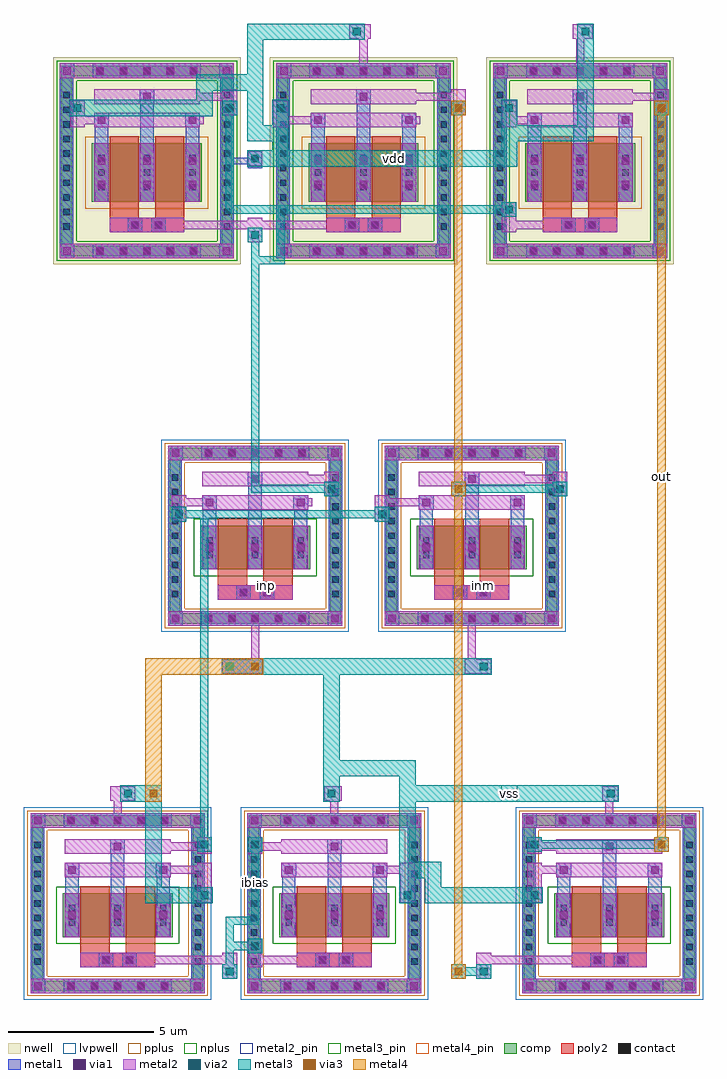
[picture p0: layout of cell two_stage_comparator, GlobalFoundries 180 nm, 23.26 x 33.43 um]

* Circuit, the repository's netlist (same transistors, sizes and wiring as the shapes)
.lib "/home/huda/.volare/gf180mcuD/libs.tech/ngspice/sm141064.ngspice" typical
.subckt two_stage_comparator vdd vss inp inm out ibias
XM8   ibias  ibias vss vss nfet_03v3  L=1u W=3u nf=2 m=1
XM3   int_p  int_p vdd vdd  pfet_03v3  L=1u W=4u nf=2 m=1
XM4   int_n  int_p vdd vdd  pfet_03v3  L=1u W=4u nf=2 m=1
XM1   int_p    inp int_src vss nfet_03v3  L=1u W=3u nf=2 m=1
XM2   int_n    inm int_src vss nfet_03v3  L=1u W=3u nf=2 m=1
XM5   int_src ibias vss vss  nfet_03v3  L=1u W=3u nf=2 m=1
XM7   out    int_p vdd vdd  pfet_03v3  L=1u W=4u nf=2 m=1
XM6   out    int_n vss vss  nfet_03v3  L=1u W=3u nf=2 m=1
.ends

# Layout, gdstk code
import gdstk
lib = gdstk.Library(unit=1e-6, precision=5e-09)
def R(c, l, rs):  # rectangles x0, y0, x1, y1
    for r in rs: c.add(gdstk.rectangle(r[:2], r[2:], *l))
def A(c, l, x, y, w, h, nx, ny, dx, dy):  # array of equal rectangles
    R(c, l, [(x+i*dx, y+j*dy, x+i*dx+w, y+j*dy+h) for i in range(nx) for j in range(ny)])
def P(c, l, *ps):  # polygons
    for p in ps: c.add(gdstk.Polygon(p, *l))
nwell = (21, 0)
comp = (22, 0)
poly2 = (30, 0)
pplus = (31, 0)
nplus = (32, 0)
contact = (33, 0)
metal1 = (34, 0)
via1 = (35, 0)
metal2 = (36, 0)
metal2_pin = (36, 10)
via2 = (38, 0)
via3 = (40, 0)
metal3 = (42, 0)
metal3_pin = (42, 10)
metal4 = (46, 0)
metal4_pin = (46, 10)
lvpwell = (204, 0)

two_stage_comparator = lib.new_cell('two_stage_comparator')
A(two_stage_comparator, nwell, -10.63, 25.18, 6.42, 7.09, 3, 1, 7.42, 0)
A(two_stage_comparator, nwell, -10.47, 25.34, 6.1, 6.77, 3, 1, 7.42, 0)
A(two_stage_comparator, comp, -10.2, 0.28, 0.36, 0.36, 5, 2, 0.8, 5.67)
A(two_stage_comparator, comp, -2.78, 0.28, 0.36, 0.36, 5, 2, 0.8, 5.67)
A(two_stage_comparator, comp, 6.64, 0.28, 0.36, 0.36, 5, 2, 0.8, 5.67)
A(two_stage_comparator, comp, -11.35, 1.115, 0.36, 0.36, 1, 9, 0, 0.5)
A(two_stage_comparator, comp, -5.85, 1.115, 0.36, 0.36, 1, 9, 0, 0.5)
A(two_stage_comparator, comp, -3.93, 1.115, 0.36, 0.36, 1, 9, 0, 0.5)
A(two_stage_comparator, comp, 1.57, 1.115, 0.36, 0.36, 1, 9, 0, 0.5)
A(two_stage_comparator, comp, 5.49, 1.115, 0.36, 0.36, 1, 9, 0, 0.5)
A(two_stage_comparator, comp, 10.99, 1.115, 0.36, 0.36, 1, 9, 0, 0.5)
A(two_stage_comparator, comp, -5.49, 12.87, 0.36, 0.36, 5, 2, 0.8, 5.67)
A(two_stage_comparator, comp, 1.93, 12.87, 0.36, 0.36, 5, 2, 0.8, 5.67)
A(two_stage_comparator, comp, -6.64, 13.705, 0.36, 0.36, 1, 9, 0, 0.5)
A(two_stage_comparator, comp, -1.14, 13.705, 0.36, 0.36, 1, 9, 0, 0.5)
A(two_stage_comparator, comp, 0.78, 13.705, 0.36, 0.36, 1, 9, 0, 0.5)
A(two_stage_comparator, comp, 6.28, 13.705, 0.36, 0.36, 1, 9, 0, 0.5)
A(two_stage_comparator, comp, -9.2, 25.46, 0.36, 0.36, 5, 2, 0.8, 6.17)
A(two_stage_comparator, comp, -9.2, 25.46, 3.56, 0.36, 3, 2, 7.42, 6.17)
A(two_stage_comparator, comp, -1.78, 25.46, 0.36, 0.36, 5, 2, 0.8, 6.17)
A(two_stage_comparator, comp, 5.64, 25.46, 0.36, 0.36, 5, 2, 0.8, 6.17)
A(two_stage_comparator, comp, -10.35, 26.295, 0.36, 0.36, 1, 10, 0, 0.5)
A(two_stage_comparator, comp, -4.85, 26.295, 0.36, 0.36, 1, 10, 0, 0.5)
A(two_stage_comparator, comp, -2.93, 26.295, 0.36, 0.36, 1, 10, 0, 0.5)
A(two_stage_comparator, comp, 2.57, 26.295, 0.36, 0.36, 1, 10, 0, 0.5)
A(two_stage_comparator, comp, 4.49, 26.295, 0.36, 0.36, 1, 10, 0, 0.5)
A(two_stage_comparator, comp, 9.99, 26.295, 0.36, 0.36, 1, 10, 0, 0.5)
A(two_stage_comparator, comp, -9.3, 27.32, 3.76, 2, 3, 1, 7.42, 0)
R(two_stage_comparator, comp, [(-10.2,0.28,-6.64,0.64), (-2.78,0.28,0.78,0.64), (6.64,0.28,10.2,0.64), (-11.35,1.115,-10.99,5.475), (-5.85,1.115,-5.49,5.475), (-3.93,1.115,-3.57,5.475), (1.57,1.115,1.93,5.475), (5.49,1.115,5.85,5.475), (10.99,1.115,11.35,5.475), (-10.3,2.14,-6.54,3.64), (-2.88,2.14,0.88,3.64), (6.54,2.14,10.3,3.64), (-10.2,5.95,-6.64,6.31), (-2.78,5.95,0.78,6.31), (6.64,5.95,10.2,6.31), (-5.49,12.87,-1.93,13.23), (1.93,12.87,5.49,13.23), (-6.64,13.705,-6.28,18.065), (-1.14,13.705,-0.78,18.065), (0.78,13.705,1.14,18.065), (6.28,13.705,6.64,18.065), (-5.59,14.73,-1.83,16.23), (1.83,14.73,5.59,16.23), (-5.49,18.54,-1.93,18.9), (1.93,18.54,5.49,18.9), (-10.35,26.295,-9.99,31.155), (-4.85,26.295,-4.49,31.155), (-2.93,26.295,-2.57,31.155), (2.57,26.295,2.93,31.155), (4.49,26.295,4.85,31.155), (9.99,26.295,10.35,31.155)])
P(two_stage_comparator, comp, [(1.93,6.31),(-3.93,6.31),(-3.93,0.64),(-3.57,0.64),(-3.57,5.95),(1.57,5.95),(1.57,0.64),(-3.57,0.64),(-3.93,0.64),(-3.93,0.28),(1.93,0.28)],
  [(11.35,6.31),(5.49,6.31),(5.49,0.64),(5.85,0.64),(5.85,5.95),(10.99,5.95),(10.99,0.64),(5.85,0.64),(5.49,0.64),(5.49,0.28),(11.35,0.28)],
  [(10.35,31.99),(4.49,31.99),(4.49,25.82),(4.85,25.82),(4.85,31.63),(9.99,31.63),(9.99,25.82),(4.85,25.82),(4.49,25.82),(4.49,25.46),(10.35,25.46)],
  [(-5.49,6.31),(-11.35,6.31),(-11.35,0.64),(-10.99,0.64),(-10.99,5.95),(-5.85,5.95),(-5.85,0.64),(-10.99,0.64),(-11.35,0.64),(-11.35,0.28),(-5.49,0.28)],
  [(6.64,18.9),(0.78,18.9),(0.78,13.23),(1.14,13.23),(1.14,18.54),(6.28,18.54),(6.28,13.23),(1.14,13.23),(0.78,13.23),(0.78,12.87),(6.64,12.87)],
  [(-0.78,18.9),(-6.64,18.9),(-6.64,13.23),(-6.28,13.23),(-6.28,18.54),(-1.14,18.54),(-1.14,13.23),(-6.28,13.23),(-6.64,13.23),(-6.64,12.87),(-0.78,12.87)],
  [(2.93,31.99),(-2.93,31.99),(-2.93,25.82),(-2.57,25.82),(-2.57,31.63),(2.57,31.63),(2.57,25.82),(-2.57,25.82),(-2.93,25.82),(-2.93,25.46),(2.93,25.46)],
  [(-4.49,31.99),(-10.35,31.99),(-10.35,25.82),(-9.99,25.82),(-9.99,31.63),(-4.85,31.63),(-4.85,25.82),(-9.99,25.82),(-10.35,25.82),(-10.35,25.46),(-4.49,25.46)])
A(two_stage_comparator, poly2, -8.7, 26.28, 2.56, 0.5, 3, 1, 7.42, 0)
R(two_stage_comparator, poly2, [(-9.7,1.1,-7.14,1.6), (-2.28,1.1,0.28,1.6), (7.14,1.1,9.7,1.6), (-9,1.17,-8.64,1.53), (-8.2,1.17,-7.84,1.53), (-1.58,1.17,-1.22,1.53), (-0.78,1.17,-0.42,1.53), (7.84,1.17,8.2,1.53), (8.64,1.17,9,1.53), (-9.7,1.6,-8.7,1.9), (-8.14,1.6,-7.14,1.9), (-2.28,1.6,-1.28,1.9), (-0.72,1.6,0.28,1.9), (7.14,1.6,8.14,1.9), (8.7,1.6,9.7,1.9), (-9.7,1.9,-8.7,3.88), (-8.14,1.9,-7.14,3.88), (-2.28,1.9,-1.28,3.88), (-0.72,1.9,0.28,3.88), (7.14,1.9,8.14,3.88), (8.7,1.9,9.7,3.88), (-4.99,13.69,-2.43,14.19), (2.43,13.69,4.99,14.19), (-4.29,13.76,-3.93,14.12), (-3.49,13.76,-3.13,14.12), (3.13,13.76,3.49,14.12), (3.93,13.76,4.29,14.12), (-4.99,14.19,-3.99,14.49), (-3.43,14.19,-2.43,14.49), (2.43,14.19,3.43,14.49), (3.99,14.19,4.99,14.49), (-4.99,14.49,-3.99,16.47), (-3.43,14.49,-2.43,16.47), (2.43,14.49,3.43,16.47), (3.99,14.49,4.99,16.47), (-8,26.35,-7.64,26.71), (-7.2,26.35,-6.84,26.71), (-0.58,26.35,-0.22,26.71), (0.22,26.35,0.58,26.71), (6.84,26.35,7.2,26.71), (7.64,26.35,8,26.71), (-8.7,26.78,-7.7,27.08), (-7.14,26.78,-6.14,27.08), (-1.28,26.78,-0.28,27.08), (0.28,26.78,1.28,27.08), (6.14,26.78,7.14,27.08), (7.7,26.78,8.7,27.08), (-8.7,27.08,-7.7,29.56), (-7.14,27.08,-6.14,29.56), (-1.28,27.08,-0.28,29.56), (0.28,27.08,1.28,29.56), (6.14,27.08,7.14,29.56), (7.7,27.08,8.7,29.56)])
A(two_stage_comparator, pplus, -9.53, 27.09, 4.22, 2.46, 3, 1, 7.42, 0)
P(two_stage_comparator, pplus, [(2.09,6.47),(-4.09,6.47),(-4.09,0.8),(-3.41,0.8),(-3.41,5.79),(1.41,5.79),(1.41,0.8),(-3.41,0.8),(-4.09,0.8),(-4.09,0.12),(2.09,0.12)],
  [(11.51,6.47),(5.33,6.47),(5.33,0.8),(6.01,0.8),(6.01,5.79),(10.83,5.79),(10.83,0.8),(6.01,0.8),(5.33,0.8),(5.33,0.12),(11.51,0.12)],
  [(-5.33,6.47),(-11.51,6.47),(-11.51,0.8),(-10.83,0.8),(-10.83,5.79),(-6.01,5.79),(-6.01,0.8),(-10.83,0.8),(-11.51,0.8),(-11.51,0.12),(-5.33,0.12)],
  [(6.8,19.06),(0.62,19.06),(0.62,13.39),(1.3,13.39),(1.3,18.38),(6.12,18.38),(6.12,13.39),(1.3,13.39),(0.62,13.39),(0.62,12.71),(6.8,12.71)],
  [(-0.62,19.06),(-6.8,19.06),(-6.8,13.39),(-6.12,13.39),(-6.12,18.38),(-1.3,18.38),(-1.3,13.39),(-6.12,13.39),(-6.8,13.39),(-6.8,12.71),(-0.62,12.71)])
R(two_stage_comparator, nplus, [(-10.53,1.91,-6.31,3.87), (-3.11,1.91,1.11,3.87), (6.31,1.91,10.53,3.87), (-5.82,14.5,-1.6,16.46), (1.6,14.5,5.82,16.46)])
P(two_stage_comparator, nplus, [(10.51,32.15),(4.33,32.15),(4.33,25.98),(5.01,25.98),(5.01,31.47),(9.83,31.47),(9.83,25.98),(5.01,25.98),(4.33,25.98),(4.33,25.3),(10.51,25.3)],
  [(3.09,32.15),(-3.09,32.15),(-3.09,25.98),(-2.41,25.98),(-2.41,31.47),(2.41,31.47),(2.41,25.98),(-2.41,25.98),(-3.09,25.98),(-3.09,25.3),(3.09,25.3)],
  [(-4.33,32.15),(-10.51,32.15),(-10.51,25.98),(-9.83,25.98),(-9.83,31.47),(-5.01,31.47),(-5.01,25.98),(-9.83,25.98),(-10.51,25.98),(-10.51,25.3),(-4.33,25.3)])
A(two_stage_comparator, contact, -10.13, 0.35, 0.22, 0.22, 5, 2, 0.8, 5.67)
A(two_stage_comparator, contact, -2.71, 0.35, 0.22, 0.22, 5, 2, 0.8, 5.67)
A(two_stage_comparator, contact, 6.71, 0.35, 0.22, 0.22, 5, 2, 0.8, 5.67)
A(two_stage_comparator, contact, -11.28, 1.185, 0.22, 0.22, 1, 9, 0, 0.5)
A(two_stage_comparator, contact, -5.78, 1.185, 0.22, 0.22, 1, 9, 0, 0.5)
A(two_stage_comparator, contact, -3.86, 1.185, 0.22, 0.22, 1, 9, 0, 0.5)
A(two_stage_comparator, contact, 1.64, 1.185, 0.22, 0.22, 1, 9, 0, 0.5)
A(two_stage_comparator, contact, 5.56, 1.185, 0.22, 0.22, 1, 9, 0, 0.5)
A(two_stage_comparator, contact, 11.06, 1.185, 0.22, 0.22, 1, 9, 0, 0.5)
A(two_stage_comparator, contact, -10.09, 2.53, 0.22, 0.22, 3, 2, 1.56, 0.5)
A(two_stage_comparator, contact, -2.67, 2.53, 0.22, 0.22, 3, 2, 1.56, 0.5)
A(two_stage_comparator, contact, 6.75, 2.53, 0.22, 0.22, 3, 2, 1.56, 0.5)
A(two_stage_comparator, contact, -5.42, 12.94, 0.22, 0.22, 5, 2, 0.8, 5.67)
A(two_stage_comparator, contact, 2, 12.94, 0.22, 0.22, 5, 2, 0.8, 5.67)
A(two_stage_comparator, contact, -6.57, 13.775, 0.22, 0.22, 1, 9, 0, 0.5)
A(two_stage_comparator, contact, -1.07, 13.775, 0.22, 0.22, 1, 9, 0, 0.5)
A(two_stage_comparator, contact, 0.85, 13.775, 0.22, 0.22, 1, 9, 0, 0.5)
A(two_stage_comparator, contact, 6.35, 13.775, 0.22, 0.22, 1, 9, 0, 0.5)
A(two_stage_comparator, contact, -5.38, 15.12, 0.22, 0.22, 3, 2, 1.56, 0.5)
A(two_stage_comparator, contact, 2.04, 15.12, 0.22, 0.22, 3, 2, 1.56, 0.5)
A(two_stage_comparator, contact, -9.13, 25.53, 0.22, 0.22, 5, 2, 0.8, 6.17)
A(two_stage_comparator, contact, -1.71, 25.53, 0.22, 0.22, 5, 2, 0.8, 6.17)
A(two_stage_comparator, contact, 5.71, 25.53, 0.22, 0.22, 5, 2, 0.8, 6.17)
A(two_stage_comparator, contact, -10.28, 26.365, 0.22, 0.22, 1, 10, 0, 0.5)
A(two_stage_comparator, contact, -4.78, 26.365, 0.22, 0.22, 1, 10, 0, 0.5)
A(two_stage_comparator, contact, -2.86, 26.365, 0.22, 0.22, 1, 10, 0, 0.5)
A(two_stage_comparator, contact, 2.64, 26.365, 0.22, 0.22, 1, 10, 0, 0.5)
A(two_stage_comparator, contact, 4.56, 26.365, 0.22, 0.22, 1, 10, 0, 0.5)
A(two_stage_comparator, contact, 10.06, 26.365, 0.22, 0.22, 1, 10, 0, 0.5)
A(two_stage_comparator, contact, -9.09, 27.71, 0.22, 0.22, 3, 3, 1.56, 0.5)
A(two_stage_comparator, contact, -1.67, 27.71, 0.22, 0.22, 3, 3, 1.56, 0.5)
A(two_stage_comparator, contact, 5.75, 27.71, 0.22, 0.22, 3, 3, 1.56, 0.5)
R(two_stage_comparator, contact, [(-8.93,1.24,-8.71,1.46), (-8.13,1.24,-7.91,1.46), (-1.51,1.24,-1.29,1.46), (-0.71,1.24,-0.49,1.46), (7.91,1.24,8.13,1.46), (8.71,1.24,8.93,1.46), (-4.22,13.83,-4,14.05), (-3.42,13.83,-3.2,14.05), (3.2,13.83,3.42,14.05), (4,13.83,4.22,14.05), (-7.93,26.42,-7.71,26.64), (-7.13,26.42,-6.91,26.64), (-0.51,26.42,-0.29,26.64), (0.29,26.42,0.51,26.64), (6.91,26.42,7.13,26.64), (7.71,26.42,7.93,26.64)])
A(two_stage_comparator, metal1, -10.27, 0.21, 0.5, 0.5, 5, 2, 0.8, 5.67)
A(two_stage_comparator, metal1, -2.85, 0.21, 0.5, 0.5, 5, 2, 0.8, 5.67)
A(two_stage_comparator, metal1, 6.57, 0.21, 0.5, 0.5, 5, 2, 0.8, 5.67)
A(two_stage_comparator, metal1, -11.4, 1.065, 0.46, 0.46, 1, 9, 0, 0.5)
A(two_stage_comparator, metal1, -5.9, 1.065, 0.46, 0.46, 1, 9, 0, 0.5)
A(two_stage_comparator, metal1, -3.98, 1.065, 0.46, 0.46, 1, 9, 0, 0.5)
A(two_stage_comparator, metal1, 1.52, 1.065, 0.46, 0.46, 1, 9, 0, 0.5)
A(two_stage_comparator, metal1, 5.44, 1.065, 0.46, 0.46, 1, 9, 0, 0.5)
A(two_stage_comparator, metal1, 10.94, 1.065, 0.46, 0.46, 1, 9, 0, 0.5)
A(two_stage_comparator, metal1, -10.21, 2.14, 0.46, 1.5, 3, 1, 1.56, 0)
A(two_stage_comparator, metal1, -2.79, 2.14, 0.46, 1.5, 3, 1, 1.56, 0)
A(two_stage_comparator, metal1, 6.63, 2.14, 0.46, 1.5, 3, 1, 1.56, 0)
A(two_stage_comparator, metal1, -10.21, 2.41, 0.46, 0.46, 3, 2, 1.56, 0.5)
A(two_stage_comparator, metal1, -2.79, 2.41, 0.46, 0.46, 3, 2, 1.56, 0.5)
A(two_stage_comparator, metal1, 6.63, 2.41, 0.46, 0.46, 3, 2, 1.56, 0.5)
A(two_stage_comparator, metal1, -5.56, 12.8, 0.5, 0.5, 5, 2, 0.8, 5.67)
A(two_stage_comparator, metal1, 1.86, 12.8, 0.5, 0.5, 5, 2, 0.8, 5.67)
A(two_stage_comparator, metal1, -6.69, 13.655, 0.46, 0.46, 1, 9, 0, 0.5)
A(two_stage_comparator, metal1, -1.19, 13.655, 0.46, 0.46, 1, 9, 0, 0.5)
A(two_stage_comparator, metal1, 0.73, 13.655, 0.46, 0.46, 1, 9, 0, 0.5)
A(two_stage_comparator, metal1, 6.23, 13.655, 0.46, 0.46, 1, 9, 0, 0.5)
A(two_stage_comparator, metal1, -5.5, 14.73, 0.46, 1.5, 3, 1, 1.56, 0)
A(two_stage_comparator, metal1, 1.92, 14.73, 0.46, 1.5, 3, 1, 1.56, 0)
A(two_stage_comparator, metal1, -5.5, 15, 0.46, 0.46, 3, 2, 1.56, 0.5)
A(two_stage_comparator, metal1, 1.92, 15, 0.46, 0.46, 3, 2, 1.56, 0.5)
A(two_stage_comparator, metal1, -9.27, 25.39, 0.5, 0.5, 5, 2, 0.8, 6.17)
A(two_stage_comparator, metal1, -9.27, 25.39, 3.7, 0.5, 3, 2, 7.42, 6.17)
A(two_stage_comparator, metal1, -1.85, 25.39, 0.5, 0.5, 5, 2, 0.8, 6.17)
A(two_stage_comparator, metal1, 5.57, 25.39, 0.5, 0.5, 5, 2, 0.8, 6.17)
A(two_stage_comparator, metal1, -10.4, 26.245, 0.46, 0.46, 1, 10, 0, 0.5)
A(two_stage_comparator, metal1, -4.9, 26.245, 0.46, 0.46, 1, 10, 0, 0.5)
A(two_stage_comparator, metal1, -2.98, 26.245, 0.46, 0.46, 1, 10, 0, 0.5)
A(two_stage_comparator, metal1, 2.52, 26.245, 0.46, 0.46, 1, 10, 0, 0.5)
A(two_stage_comparator, metal1, 4.44, 26.245, 0.46, 0.46, 1, 10, 0, 0.5)
A(two_stage_comparator, metal1, 9.94, 26.245, 0.46, 0.46, 1, 10, 0, 0.5)
A(two_stage_comparator, metal1, -9.21, 27.32, 0.46, 2, 3, 1, 1.56, 0)
A(two_stage_comparator, metal1, -1.79, 27.32, 0.46, 2, 3, 1, 1.56, 0)
A(two_stage_comparator, metal1, 5.63, 27.32, 0.46, 2, 3, 1, 1.56, 0)
A(two_stage_comparator, metal1, -9.21, 27.59, 0.46, 0.46, 3, 3, 1.56, 0.5)
A(two_stage_comparator, metal1, -1.79, 27.59, 0.46, 0.46, 3, 3, 1.56, 0.5)
A(two_stage_comparator, metal1, 5.63, 27.59, 0.46, 0.46, 3, 3, 1.56, 0.5)
A(two_stage_comparator, metal1, -9.23, 27.67, 0.5, 0.5, 3, 2, 1.56, 0.8)
A(two_stage_comparator, metal1, -9.23, 27.67, 0.5, 1.3, 3, 1, 1.56, 0)
A(two_stage_comparator, metal1, -1.81, 27.67, 0.5, 0.5, 3, 2, 1.56, 0.8)
A(two_stage_comparator, metal1, -1.81, 27.67, 0.5, 1.3, 3, 1, 1.56, 0)
A(two_stage_comparator, metal1, 5.61, 27.67, 0.5, 0.5, 3, 2, 1.56, 0.8)
A(two_stage_comparator, metal1, 5.61, 27.67, 0.5, 1.3, 3, 1, 1.56, 0)
A(two_stage_comparator, metal1, -7.65, 29.32, 0.46, 1.85, 3, 1, 7.42, 0)
A(two_stage_comparator, metal1, -7.67, 30.67, 0.5, 0.5, 3, 1, 7.42, 0)
R(two_stage_comparator, metal1, [(-11.4,0.21,-10.9,0.71), (-11.4,0.21,-10.9,0.71), (-11.4,0.21,-10.94,0.64), (-10.27,0.21,-6.57,0.71), (-5.94,0.21,-5.44,0.71), (-5.94,0.21,-5.44,0.71), (-5.9,0.21,-5.44,0.64), (-3.98,0.21,-3.48,0.71), (-3.98,0.21,-3.48,0.71), (-3.98,0.21,-3.52,0.64), (-2.85,0.21,0.85,0.71), (1.48,0.21,1.98,0.71), (1.48,0.21,1.98,0.71), (1.52,0.21,1.98,0.64), (5.44,0.21,5.94,0.71), (5.44,0.21,5.94,0.71), (5.44,0.21,5.9,0.64), (6.57,0.21,10.27,0.71), (10.9,0.21,11.4,0.71), (10.9,0.21,11.4,0.71), (10.94,0.21,11.4,0.64), (-11.4,0.64,-10.94,5.95), (-5.9,0.64,-5.44,5.95), (-3.98,0.64,-3.52,5.95), (1.52,0.64,1.98,5.95), (5.44,0.64,5.9,5.95), (10.94,0.64,11.4,5.95), (-9.07,1.1,-8.57,1.6), (-8.27,1.1,-7.77,1.6), (-1.65,1.1,-1.15,1.6), (-0.85,1.1,-0.35,1.6), (7.77,1.1,8.27,1.6), (8.57,1.1,9.07,1.6), (-10.23,2.64,-9.73,3.14), (-10.23,2.64,-9.73,3.14), (-8.67,2.64,-8.17,3.14), (-8.67,2.64,-8.17,3.14), (-7.11,2.64,-6.61,3.14), (-7.11,2.64,-6.61,3.14), (-2.81,2.64,-2.31,3.14), (-2.81,2.64,-2.31,3.14), (-1.25,2.64,-0.75,3.14), (-1.25,2.64,-0.75,3.14), (0.31,2.64,0.81,3.14), (0.31,2.64,0.81,3.14), (6.61,2.64,7.11,3.14), (6.61,2.64,7.11,3.14), (8.17,2.64,8.67,3.14), (8.17,2.64,8.67,3.14), (9.73,2.64,10.23,3.14), (9.73,2.64,10.23,3.14), (-10.21,3.64,-9.75,4.69), (-8.65,3.64,-8.19,5.49), (-7.09,3.64,-6.63,4.69), (-2.79,3.64,-2.33,4.69), (-1.23,3.64,-0.77,5.49), (0.33,3.64,0.79,4.69), (6.63,3.64,7.09,4.69), (8.19,3.64,8.65,5.49), (9.75,3.64,10.21,4.69), (-10.23,4.19,-9.73,4.69), (-7.11,4.19,-6.61,4.69), (-2.81,4.19,-2.31,4.69), (0.31,4.19,0.81,4.69), (6.61,4.19,7.11,4.69), (9.73,4.19,10.23,4.69), (-8.67,4.99,-8.17,5.49), (-1.25,4.99,-0.75,5.49), (8.17,4.99,8.67,5.49), (-11.4,5.88,-10.9,6.38), (-11.4,5.88,-10.9,6.38), (-10.27,5.88,-6.57,6.38), (-5.94,5.88,-5.44,6.38), (-5.94,5.88,-5.44,6.38), (-3.98,5.88,-3.48,6.38), (-3.98,5.88,-3.48,6.38), (-2.85,5.88,0.85,6.38), (1.48,5.88,1.98,6.38), (1.48,5.88,1.98,6.38), (5.44,5.88,5.94,6.38), (5.44,5.88,5.94,6.38), (6.57,5.88,10.27,6.38), (10.9,5.88,11.4,6.38), (10.9,5.88,11.4,6.38), (-11.4,5.95,-10.94,6.38), (-5.9,5.95,-5.44,6.38), (-3.98,5.95,-3.52,6.38), (1.52,5.95,1.98,6.38), (5.44,5.95,5.9,6.38), (10.94,5.95,11.4,6.38), (-6.69,12.8,-6.19,13.3), (-6.69,12.8,-6.19,13.3), (-6.69,12.8,-6.23,13.23), (-5.56,12.8,-1.86,13.3), (-1.23,12.8,-0.73,13.3), (-1.23,12.8,-0.73,13.3), (-1.19,12.8,-0.73,13.23), (0.73,12.8,1.23,13.3), (0.73,12.8,1.23,13.3), (0.73,12.8,1.19,13.23), (1.86,12.8,5.56,13.3), (6.19,12.8,6.69,13.3), (6.19,12.8,6.69,13.3), (6.23,12.8,6.69,13.23), (-6.69,13.23,-6.23,18.54), (-1.19,13.23,-0.73,18.54), (0.73,13.23,1.19,18.54), (6.23,13.23,6.69,18.54), (-4.36,13.69,-3.86,14.19), (-3.56,13.69,-3.06,14.19), (3.06,13.69,3.56,14.19), (3.86,13.69,4.36,14.19), (-5.52,15.23,-5.02,15.73), (-5.52,15.23,-5.02,15.73), (-3.96,15.23,-3.46,15.73), (-3.96,15.23,-3.46,15.73), (-2.4,15.23,-1.9,15.73), (-2.4,15.23,-1.9,15.73), (1.9,15.23,2.4,15.73), (1.9,15.23,2.4,15.73), (3.46,15.23,3.96,15.73), (3.46,15.23,3.96,15.73), (5.02,15.23,5.52,15.73), (5.02,15.23,5.52,15.73), (-5.5,16.23,-5.04,17.28), (-3.94,16.23,-3.48,18.08), (-2.38,16.23,-1.92,17.28), (1.92,16.23,2.38,17.28), (3.48,16.23,3.94,18.08), (5.04,16.23,5.5,17.28), (-5.52,16.78,-5.02,17.28), (-2.4,16.78,-1.9,17.28), (1.9,16.78,2.4,17.28), (5.02,16.78,5.52,17.28), (-3.96,17.58,-3.46,18.08), (3.46,17.58,3.96,18.08), (-6.69,18.47,-6.19,18.97), (-6.69,18.47,-6.19,18.97), (-5.56,18.47,-1.86,18.97), (-1.23,18.47,-0.73,18.97), (-1.23,18.47,-0.73,18.97), (0.73,18.47,1.23,18.97), (0.73,18.47,1.23,18.97), (1.86,18.47,5.56,18.97), (6.19,18.47,6.69,18.97), (6.19,18.47,6.69,18.97), (-6.69,18.54,-6.23,18.97), (-1.19,18.54,-0.73,18.97), (0.73,18.54,1.19,18.97), (6.23,18.54,6.69,18.97), (-10.4,25.39,-9.9,25.89), (-10.4,25.39,-9.9,25.89), (-10.4,25.39,-9.94,25.82), (-4.94,25.39,-4.44,25.89), (-4.94,25.39,-4.44,25.89), (-4.9,25.39,-4.44,25.82), (-2.98,25.39,-2.48,25.89), (-2.98,25.39,-2.48,25.89), (-2.98,25.39,-2.52,25.82), (2.48,25.39,2.98,25.89), (2.48,25.39,2.98,25.89), (2.52,25.39,2.98,25.82), (4.44,25.39,4.94,25.89), (4.44,25.39,4.94,25.89), (4.44,25.39,4.9,25.82), (9.9,25.39,10.4,25.89), (9.9,25.39,10.4,25.89), (9.94,25.39,10.4,25.82), (-10.4,25.82,-9.94,31.63), (-4.9,25.82,-4.44,31.63), (-2.98,25.82,-2.52,31.63), (2.52,25.82,2.98,31.63), (4.44,25.82,4.9,31.63), (9.94,25.82,10.4,31.63), (-8.07,26.28,-7.57,26.78), (-7.27,26.28,-6.77,26.78), (-0.65,26.28,-0.15,26.78), (0.15,26.28,0.65,26.78), (6.77,26.28,7.27,26.78), (7.57,26.28,8.07,26.78), (-3.96,28.47,-3.46,29.05), (-3.96,28.55,-3.46,29.05), (-4.555,28.605,-3.595,28.835), (-9.21,29.32,-8.75,30.37), (-6.09,29.32,-5.63,30.37), (-1.79,29.32,-1.33,30.37), (1.33,29.32,1.79,30.37), (5.63,29.32,6.09,30.37), (8.75,29.32,9.21,30.37), (-9.23,29.87,-8.73,30.37), (-6.11,29.87,-5.61,30.37), (-1.81,29.87,-1.31,30.37), (1.31,29.87,1.81,30.37), (5.61,29.87,6.11,30.37), (8.73,29.87,9.23,30.37), (-10.4,31.56,-9.9,32.06), (-10.4,31.56,-9.9,32.06), (-4.94,31.56,-4.44,32.06), (-4.94,31.56,-4.44,32.06), (-2.98,31.56,-2.48,32.06), (-2.98,31.56,-2.48,32.06), (2.48,31.56,2.98,32.06), (2.48,31.56,2.98,32.06), (4.44,31.56,4.94,32.06), (4.44,31.56,4.94,32.06), (9.9,31.56,10.4,32.06), (9.9,31.56,10.4,32.06), (-10.4,31.63,-9.94,32.06), (-4.9,31.63,-4.44,32.06), (-2.98,31.63,-2.52,32.06), (2.52,31.63,2.98,32.06), (4.44,31.63,4.9,32.06), (9.94,31.63,10.4,32.06)])
A(two_stage_comparator, via1, -10.15, 0.33, 0.26, 0.26, 5, 2, 0.8, 5.67)
A(two_stage_comparator, via1, -2.73, 0.33, 0.26, 0.26, 5, 2, 0.8, 5.67)
A(two_stage_comparator, via1, 6.69, 0.33, 0.26, 0.26, 5, 2, 0.8, 5.67)
A(two_stage_comparator, via1, -10.11, 2.76, 0.26, 0.26, 3, 1, 1.56, 0)
A(two_stage_comparator, via1, -2.69, 2.76, 0.26, 0.26, 3, 1, 1.56, 0)
A(two_stage_comparator, via1, 6.73, 2.76, 0.26, 0.26, 3, 1, 1.56, 0)
A(two_stage_comparator, via1, -5.44, 12.92, 0.26, 0.26, 5, 2, 0.8, 5.67)
A(two_stage_comparator, via1, 1.98, 12.92, 0.26, 0.26, 5, 2, 0.8, 5.67)
A(two_stage_comparator, via1, -5.4, 15.35, 0.26, 0.26, 3, 1, 1.56, 0)
A(two_stage_comparator, via1, 2.02, 15.35, 0.26, 0.26, 3, 1, 1.56, 0)
A(two_stage_comparator, via1, -9.15, 25.51, 0.26, 0.26, 5, 2, 0.8, 6.17)
A(two_stage_comparator, via1, -1.73, 25.51, 0.26, 0.26, 5, 2, 0.8, 6.17)
A(two_stage_comparator, via1, 5.69, 25.51, 0.26, 0.26, 5, 2, 0.8, 6.17)
A(two_stage_comparator, via1, -9.11, 27.79, 0.26, 0.26, 3, 2, 1.56, 0.8)
A(two_stage_comparator, via1, -1.69, 27.79, 0.26, 0.26, 3, 2, 1.56, 0.8)
A(two_stage_comparator, via1, 5.73, 27.79, 0.26, 0.26, 3, 2, 1.56, 0.8)
A(two_stage_comparator, via1, -7.55, 30.79, 0.26, 0.26, 3, 1, 7.42, 0)
R(two_stage_comparator, via1, [(-11.28,0.33,-11.02,0.59), (-5.82,0.33,-5.56,0.59), (-3.86,0.33,-3.6,0.59), (1.6,0.33,1.86,0.59), (5.56,0.33,5.82,0.59), (11.02,0.33,11.28,0.59), (-8.95,1.22,-8.69,1.48), (-8.15,1.22,-7.89,1.48), (-1.53,1.22,-1.27,1.48), (-0.73,1.22,-0.47,1.48), (7.89,1.22,8.15,1.48), (8.69,1.22,8.95,1.48), (-10.11,4.31,-9.85,4.57), (-6.99,4.31,-6.73,4.57), (-2.69,4.31,-2.43,4.57), (0.43,4.31,0.69,4.57), (6.73,4.31,6.99,4.57), (9.85,4.31,10.11,4.57), (-8.55,5.11,-8.29,5.37), (-1.13,5.11,-0.87,5.37), (8.29,5.11,8.55,5.37), (-11.28,6,-11.02,6.26), (-5.82,6,-5.56,6.26), (-3.86,6,-3.6,6.26), (1.6,6,1.86,6.26), (5.56,6,5.82,6.26), (11.02,6,11.28,6.26), (-6.57,12.92,-6.31,13.18), (-1.11,12.92,-0.85,13.18), (0.85,12.92,1.11,13.18), (6.31,12.92,6.57,13.18), (-4.24,13.81,-3.98,14.07), (-3.44,13.81,-3.18,14.07), (3.18,13.81,3.44,14.07), (3.98,13.81,4.24,14.07), (-5.4,16.9,-5.14,17.16), (-2.28,16.9,-2.02,17.16), (2.02,16.9,2.28,17.16), (5.14,16.9,5.4,17.16), (-3.84,17.7,-3.58,17.96), (3.58,17.7,3.84,17.96), (-6.57,18.59,-6.31,18.85), (-1.11,18.59,-0.85,18.85), (0.85,18.59,1.11,18.85), (6.31,18.59,6.57,18.85), (-10.28,25.51,-10.02,25.77), (-4.82,25.51,-4.56,25.77), (-2.86,25.51,-2.6,25.77), (2.6,25.51,2.86,25.77), (4.56,25.51,4.82,25.77), (10.02,25.51,10.28,25.77), (-7.95,26.4,-7.69,26.66), (-7.15,26.4,-6.89,26.66), (-0.53,26.4,-0.27,26.66), (0.27,26.4,0.53,26.66), (6.89,26.4,7.15,26.66), (7.69,26.4,7.95,26.66), (-3.84,28.67,-3.58,28.93), (-9.11,29.99,-8.85,30.25), (-5.99,29.99,-5.73,30.25), (-1.69,29.99,-1.43,30.25), (1.43,29.99,1.69,30.25), (5.73,29.99,5.99,30.25), (8.85,29.99,9.11,30.25), (-10.28,31.68,-10.02,31.94), (-4.82,31.68,-4.56,31.94), (-2.86,31.68,-2.6,31.94), (2.6,31.68,2.86,31.94), (4.56,31.68,4.82,31.94), (10.02,31.68,10.28,31.94)])
A(two_stage_comparator, metal2, -10.27, 0.21, 0.5, 0.5, 5, 2, 0.8, 5.67)
A(two_stage_comparator, metal2, -2.85, 0.21, 0.5, 0.5, 5, 2, 0.8, 5.67)
A(two_stage_comparator, metal2, 6.57, 0.21, 0.5, 0.5, 5, 2, 0.8, 5.67)
A(two_stage_comparator, metal2, -10.23, 2.14, 0.5, 1.5, 3, 1, 1.56, 0)
A(two_stage_comparator, metal2, -2.81, 2.14, 0.5, 1.5, 3, 1, 1.56, 0)
A(two_stage_comparator, metal2, 6.61, 2.14, 0.5, 1.5, 3, 1, 1.56, 0)
A(two_stage_comparator, metal2, -10.23, 2.64, 0.5, 0.5, 3, 1, 1.56, 0)
A(two_stage_comparator, metal2, -2.81, 2.64, 0.5, 0.5, 3, 1, 1.56, 0)
A(two_stage_comparator, metal2, 6.61, 2.64, 0.5, 0.5, 3, 1, 1.56, 0)
A(two_stage_comparator, metal2, -5.56, 12.8, 0.5, 0.5, 5, 2, 0.8, 5.67)
A(two_stage_comparator, metal2, 1.86, 12.8, 0.5, 0.5, 5, 2, 0.8, 5.67)
A(two_stage_comparator, metal2, -5.52, 14.73, 0.5, 1.5, 3, 1, 1.56, 0)
A(two_stage_comparator, metal2, 1.9, 14.73, 0.5, 1.5, 3, 1, 1.56, 0)
A(two_stage_comparator, metal2, -5.52, 15.23, 0.5, 0.5, 3, 1, 1.56, 0)
A(two_stage_comparator, metal2, 1.9, 15.23, 0.5, 0.5, 3, 1, 1.56, 0)
A(two_stage_comparator, metal2, -9.99, 25.39, 5.14, 0.5, 3, 2, 7.42, 6.17)
A(two_stage_comparator, metal2, -9.27, 25.39, 0.5, 0.5, 5, 2, 0.8, 6.17)
A(two_stage_comparator, metal2, -1.85, 25.39, 0.5, 0.5, 5, 2, 0.8, 6.17)
A(two_stage_comparator, metal2, 5.57, 25.39, 0.5, 0.5, 5, 2, 0.8, 6.17)
A(two_stage_comparator, metal2, -8.7, 26.28, 2.56, 0.5, 3, 1, 7.42, 0)
A(two_stage_comparator, metal2, -9.23, 27.32, 0.5, 2, 3, 1, 1.56, 0)
A(two_stage_comparator, metal2, -1.81, 27.32, 0.5, 2, 3, 1, 1.56, 0)
A(two_stage_comparator, metal2, 5.61, 27.32, 0.5, 2, 3, 1, 1.56, 0)
A(two_stage_comparator, metal2, -9.23, 27.67, 0.5, 0.5, 3, 2, 1.56, 0.8)
A(two_stage_comparator, metal2, -1.81, 27.67, 0.5, 0.5, 3, 2, 1.56, 0.8)
A(two_stage_comparator, metal2, 5.61, 27.67, 0.5, 0.5, 3, 2, 1.56, 0.8)
A(two_stage_comparator, metal2, -9.23, 29.87, 3.62, 0.5, 3, 2, 7.42, 0.8)
A(two_stage_comparator, metal2, -7.67, 30.67, 0.5, 0.5, 3, 1, 7.42, 0)
R(two_stage_comparator, metal2, [(-11.4,0.21,-10.9,0.71), (-11.4,0.21,-10.9,0.71), (-11.4,0.21,-10.99,0.71), (-10.99,0.21,-5.85,0.71), (-5.94,0.21,-5.44,0.71), (-5.94,0.21,-5.44,0.71), (-5.85,0.21,-5.44,0.71), (-3.98,0.21,-3.48,0.71), (-3.98,0.21,-3.48,0.71), (-3.98,0.21,-3.57,0.71), (-3.57,0.21,1.57,0.71), (1.48,0.21,1.98,0.71), (1.48,0.21,1.98,0.71), (1.57,0.21,1.98,0.71), (5.44,0.21,5.94,0.71), (5.44,0.21,5.94,0.71), (5.44,0.21,5.85,0.71), (5.85,0.21,10.99,0.71), (10.9,0.21,11.4,0.71), (10.9,0.21,11.4,0.71), (10.99,0.21,11.4,0.71), (-4.83,0.71,-4.33,1.6), (-4.83,0.71,-4.33,1.21), (3.87,0.71,4.37,1.6), (3.87,0.71,4.37,1.21), (-9.7,1.1,-7.14,1.6), (-9.07,1.1,-8.57,1.6), (-8.27,1.1,-7.77,1.6), (-3.96,1.1,-3.46,2.08), (-2.28,1.1,0.28,1.6), (-1.65,1.1,-1.15,1.6), (-0.85,1.1,-0.35,1.6), (7.14,1.1,9.7,1.6), (7.77,1.1,8.27,1.6), (8.57,1.1,9.07,1.6), (-7.28,1.21,-4.44,1.49), (-3.85,1.21,-2.14,1.49), (3.98,1.21,7.28,1.49), (-3.96,1.58,-3.46,2.08), (-5.7,3.32,-5.2,4.69), (-5.7,3.32,-5.2,3.82), (1.26,3.32,1.76,4.69), (1.26,3.32,1.76,3.82), (5.61,3.32,6.11,4.69), (5.61,3.32,6.11,3.82), (-10.23,4.19,-9.73,4.69), (-10.23,4.19,-6.61,4.69), (-7.11,4.19,-6.61,4.69), (-2.81,4.19,-2.31,4.69), (-2.81,4.19,0.81,4.69), (0.31,4.19,0.81,4.69), (6.61,4.19,7.11,4.69), (6.61,4.19,10.23,4.69), (9.73,4.19,10.23,4.69), (-6.75,4.3,-5.31,4.58), (0.67,4.3,1.65,4.58), (5.72,4.3,6.75,4.58), (-10.23,4.99,-6.61,5.49), (-8.67,4.99,-8.17,5.49), (-5.7,4.99,-5.2,5.56), (-3.96,4.99,-3.46,5.56), (-2.81,4.99,0.81,5.49), (-1.25,4.99,-0.75,5.49), (5.61,4.99,6.11,5.56), (6.61,4.99,10.23,5.49), (8.17,4.99,8.67,5.49), (-5.7,5.06,-5.2,5.56), (-3.96,5.06,-3.46,5.56), (5.61,5.06,6.11,5.56), (-6.75,5.1,-5.31,5.38), (-3.85,5.1,-2.67,5.38), (5.72,5.1,6.75,5.38), (-11.4,5.88,-10.9,6.38), (-11.4,5.88,-10.9,6.38), (-11.4,5.88,-10.99,6.38), (-10.99,5.88,-5.85,6.38), (-5.94,5.88,-5.44,6.38), (-5.94,5.88,-5.44,6.38), (-5.85,5.88,-5.44,6.38), (-3.98,5.88,-3.48,6.38), (-3.98,5.88,-3.48,6.38), (-3.98,5.88,-3.57,6.38), (-3.57,5.88,1.57,6.38), (1.48,5.88,1.98,6.38), (1.48,5.88,1.98,6.38), (1.57,5.88,1.98,6.38), (5.44,5.88,5.94,6.38), (5.44,5.88,5.94,6.38), (5.44,5.88,5.85,6.38), (5.85,5.88,10.99,6.38), (10.9,5.88,11.4,6.38), (10.9,5.88,11.4,6.38), (10.99,5.88,11.4,6.38), (-8.56,6.24,-8.28,7.19), (-1.14,6.24,-0.86,7.19), (8.28,6.24,8.56,7.19), (-8.67,6.8,-7.81,7.3), (-8.31,6.8,-7.81,7.3), (-1.35,6.8,-0.75,7.3), (-1.35,6.8,-0.85,7.3), (8.17,6.8,8.72,7.3), (8.22,6.8,8.72,7.3), (-4.83,11.15,-3.46,11.65), (-4.83,11.15,-4.33,11.65), (3.46,11.15,4.37,11.65), (3.87,11.15,4.37,11.65), (-3.85,11.26,-3.57,12.94), (3.57,11.26,3.85,12.94), (-6.69,12.8,-6.19,13.3), (-6.69,12.8,-6.19,13.3), (-6.69,12.8,-6.28,13.3), (-6.28,12.8,-1.14,13.3), (-1.23,12.8,-0.73,13.3), (-1.23,12.8,-0.73,13.3), (-1.14,12.8,-0.73,13.3), (0.73,12.8,1.23,13.3), (0.73,12.8,1.23,13.3), (0.73,12.8,1.14,13.3), (1.14,12.8,6.28,13.3), (6.19,12.8,6.69,13.3), (6.19,12.8,6.69,13.3), (6.28,12.8,6.69,13.3), (-4.99,13.69,-2.43,14.19), (-4.36,13.69,-3.86,14.19), (-3.56,13.69,-3.06,14.19), (2.43,13.69,4.99,14.19), (3.06,13.69,3.56,14.19), (3.86,13.69,4.36,14.19), (-6.57,16.37,-6.07,17.28), (-6.57,16.37,-6.07,16.87), (0.39,16.37,0.89,17.28), (0.39,16.37,0.89,16.87), (-5.52,16.78,-5.02,17.28), (-5.52,16.78,-1.9,17.28), (-2.4,16.78,-1.9,17.28), (1.9,16.78,2.4,17.28), (1.9,16.78,5.52,17.28), (5.02,16.78,5.52,17.28), (-6.46,16.89,-1.76,17.17), (0.5,16.89,2.04,17.17), (-1.35,17.24,-0.85,18.08), (-1.35,17.24,-0.85,17.74), (6.48,17.24,6.98,18.08), (6.48,17.24,6.98,17.74), (-5.52,17.58,-1.9,18.08), (-3.96,17.58,-3.46,18.08), (1.9,17.58,5.52,18.08), (3.46,17.58,3.96,18.08), (-2.04,17.69,-0.96,17.97), (5.38,17.69,6.87,17.97), (-6.69,18.47,-6.19,18.97), (-6.69,18.47,-6.19,18.97), (-6.69,18.47,-6.28,18.97), (-6.28,18.47,-1.14,18.97), (-1.23,18.47,-0.73,18.97), (-1.23,18.47,-0.73,18.97), (-1.14,18.47,-0.73,18.97), (0.73,18.47,1.23,18.97), (0.73,18.47,1.23,18.97), (0.73,18.47,1.14,18.97), (1.14,18.47,6.28,18.97), (6.19,18.47,6.69,18.97), (6.19,18.47,6.69,18.97), (6.28,18.47,6.69,18.97), (-10.4,25.39,-9.9,25.89), (-10.4,25.39,-9.9,25.89), (-10.4,25.39,-9.99,25.89), (-4.94,25.39,-4.44,25.89), (-4.94,25.39,-4.44,25.89), (-4.85,25.39,-4.44,25.89), (-2.98,25.39,-2.48,25.89), (-2.98,25.39,-2.48,25.89), (-2.98,25.39,-2.57,25.89), (2.48,25.39,2.98,25.89), (2.48,25.39,2.98,25.89), (2.57,25.39,2.98,25.89), (4.44,25.39,4.94,25.89), (4.44,25.39,4.94,25.89), (4.44,25.39,4.85,25.89), (9.9,25.39,10.4,25.89), (9.9,25.39,10.4,25.89), (9.99,25.39,10.4,25.89), (-3.96,25.94,-3.46,26.78), (-3.96,25.94,-3.46,26.78), (-3.96,25.94,-3.46,26.78), (-3.96,25.94,-3.46,26.78), (-3.96,25.94,-3.46,26.44), (-8.07,26.28,-7.57,26.78), (-7.27,26.28,-6.77,26.78), (-0.65,26.28,-0.15,26.78), (0.15,26.28,0.65,26.78), (4.74,26.28,5.24,27.31), (6.77,26.28,7.27,26.78), (7.57,26.28,8.07,26.78), (-6.28,26.39,-3.57,26.67), (-6.28,26.39,-3.57,26.67), (-3.85,26.39,-1.14,26.67), (-3.85,26.39,-1.14,26.67), (4.85,26.39,6.28,26.67), (4.74,26.81,5.24,27.31), (-3.96,28.55,-3.46,29.05), (-10.05,29.87,-9.55,30.79), (-9.23,29.87,-8.73,30.37), (-6.11,29.87,-5.61,30.37), (-3.09,29.87,-2.59,30.79), (-1.81,29.87,-1.31,30.37), (1.31,29.87,1.81,30.37), (4.74,29.87,5.24,30.79), (5.61,29.87,6.11,30.37), (8.73,29.87,9.23,30.37), (-9.94,29.98,-5.47,30.26), (-2.98,29.98,1.95,30.26), (4.85,29.98,5.75,30.26), (-10.05,30.29,-9.55,30.79), (-4.83,30.29,-4.33,31.17), (-4.83,30.29,-4.33,30.79), (-3.09,30.29,-2.59,30.79), (3,30.29,3.5,31.17), (3,30.29,3.5,30.79), (4.74,30.29,5.24,30.79), (9.96,30.29,10.46,31.17), (9.96,30.29,10.46,30.79), (-5.75,30.78,-4.44,31.06), (1.67,30.78,3.39,31.06), (9.09,30.78,10.35,31.06), (-10.4,31.56,-9.9,32.06), (-10.4,31.56,-9.9,32.06), (-10.4,31.56,-9.99,32.06), (-4.94,31.56,-4.44,32.06), (-4.94,31.56,-4.44,32.06), (-4.85,31.56,-4.44,32.06), (-2.98,31.56,-2.48,32.06), (-2.98,31.56,-2.48,32.06), (-2.98,31.56,-2.57,32.06), (2.48,31.56,2.98,32.06), (2.48,31.56,2.98,32.06), (2.57,31.56,2.98,32.06), (4.44,31.56,4.94,32.06), (4.44,31.56,4.94,32.06), (4.44,31.56,4.85,32.06), (9.9,31.56,10.4,32.06), (9.9,31.56,10.4,32.06), (9.99,31.56,10.4,32.06), (-0.14,31.92,0.14,33.29), (7.28,31.92,7.56,33.29), (-0.48,32.9,0.25,33.4), (-0.48,32.9,0.02,33.4), (7.17,32.9,7.85,33.4), (7.35,32.9,7.85,33.4)])
R(two_stage_comparator, metal2_pin, [(-3.45,14.05,-3.17,14.33), (3.97,14.05,4.25,14.33)])
R(two_stage_comparator, via2, [(-4.71,0.83,-4.45,1.09), (3.99,0.83,4.25,1.09), (-3.84,1.7,-3.58,1.96), (-5.58,3.44,-5.32,3.7), (1.38,3.44,1.64,3.7), (5.73,3.44,5.99,3.7), (-5.58,5.18,-5.32,5.44), (-3.84,5.18,-3.58,5.44), (5.73,5.18,5.99,5.44), (-8.19,6.92,-7.93,7.18), (-1.23,6.92,-0.97,7.18), (8.34,6.92,8.6,7.18), (-4.71,11.27,-4.45,11.53), (3.99,11.27,4.25,11.53), (-6.45,16.49,-6.19,16.75), (0.51,16.49,0.77,16.75), (-1.23,17.36,-0.97,17.62), (6.6,17.36,6.86,17.62), (-3.84,26.06,-3.58,26.32), (4.86,26.93,5.12,27.19), (-3.84,28.67,-3.58,28.93), (-9.93,30.41,-9.67,30.67), (-4.71,30.41,-4.45,30.67), (-2.97,30.41,-2.71,30.67), (3.12,30.41,3.38,30.67), (4.86,30.41,5.12,30.67), (10.08,30.41,10.34,30.67), (-0.36,33.02,-0.1,33.28), (7.47,33.02,7.73,33.28)])
R(two_stage_comparator, via3, [(3.12,0.83,3.38,1.09), (10.08,5.18,10.34,5.44), (-7.32,6.92,-7.06,7.18), (-3.84,11.27,-3.58,11.53), (3.12,17.36,3.38,17.62), (3.12,30.41,3.38,30.67), (10.08,30.41,10.34,30.67)])
R(two_stage_comparator, metal3, [(-4.83,0.71,-4.33,1.21), (3,0.71,3.5,1.21), (3.87,0.71,4.37,1.21), (-4.72,0.82,-4.44,1.97), (3.11,0.82,4.26,1.1), (-3.96,1.58,-3.46,2.08), (-4.72,1.69,-3.57,1.97), (-4.72,1.69,-4.44,2.84), (-4.72,2.56,-3.57,2.84), (-3.85,2.56,-3.57,5.45), (-7.47,3.29,-5.17,3.85), (-7.47,3.29,-6.91,7.33), (1.23,3.29,1.79,8.2), (2.1,3.29,6.14,3.85), (2.1,3.29,2.66,4.72), (-5.7,3.32,-5.2,3.82), (1.26,3.32,1.76,3.82), (5.61,3.32,6.11,3.82), (1.23,4.16,2.66,4.72), (-5.7,5.06,-5.2,5.56), (-3.96,5.06,-3.46,5.56), (5.61,5.06,6.11,5.56), (9.96,5.06,10.46,5.56), (-5.59,5.17,-5.31,16.76), (5.72,5.17,10.35,5.45), (-8.34,6.77,-6.91,7.33), (-1.38,6.77,-0.82,11.68), (1.23,6.77,8.75,7.33), (-8.31,6.8,-7.81,7.3), (-7.44,6.8,-6.94,7.3), (-1.35,6.8,-0.85,7.3), (8.22,6.8,8.72,7.3), (-1.38,7.64,1.79,8.2), (-4.86,11.12,-3.43,11.68), (-3.99,11.12,-0.82,11.68), (-1.38,11.12,4.4,11.68), (-4.83,11.15,-4.33,11.65), (-3.96,11.15,-3.46,11.65), (3.87,11.15,4.37,11.65), (-6.57,16.37,-6.07,16.87), (0.39,16.37,0.89,16.87), (-6.46,16.48,0.78,16.76), (-1.35,17.24,-0.85,17.74), (3,17.24,3.5,17.74), (6.48,17.24,6.98,17.74), (-3.85,17.35,-3.57,26.33), (-3.85,17.35,-0.96,17.63), (3.11,17.35,6.87,17.63), (-3.85,25.18,-2.7,25.46), (-2.98,25.18,-2.7,27.2), (-3.96,25.94,-3.46,26.44), (4.74,26.81,5.24,27.31), (-4.72,26.92,-4.44,30.68), (-4.72,26.92,-2.7,27.2), (-2.98,26.92,5.13,27.2), (-3.99,28.52,-2.56,29.08), (-3.12,28.52,-2.56,30.82), (-3.12,28.52,5.27,29.08), (4.71,28.52,5.27,30.82), (-3.96,28.55,-3.46,29.05), (-3.99,29.39,-2.56,29.95), (-3.99,29.39,-3.43,31.69), (4.71,29.39,7.88,29.95), (7.32,29.39,7.88,33.43), (-10.08,30.26,-5.17,30.82), (-5.73,30.26,-5.17,31.69), (-10.05,30.29,-9.55,30.79), (-4.83,30.29,-4.33,30.79), (-3.09,30.29,-2.59,30.79), (3,30.29,3.5,30.79), (3,30.29,3.5,30.79), (4.74,30.29,5.24,30.79), (9.96,30.29,10.46,30.79), (9.96,30.29,10.46,30.79), (-5.73,31.13,-3.43,31.69), (-3.99,31.13,-3.43,33.43), (-3.99,32.87,0.05,33.43), (-0.48,32.9,0.02,33.4), (7.35,32.9,7.85,33.4)])
R(two_stage_comparator, metal3_pin, [(-3.85,3.865,-3.57,4.145), (4.71,6.77,5.27,7.33), (0.795,28.52,1.355,29.08)])
R(two_stage_comparator, metal4, [(3,0.71,3.5,1.21), (3.11,0.82,3.39,17.63), (9.96,5.06,10.46,5.56), (10.07,5.17,10.35,30.68), (-7.47,6.77,-6.91,11.68), (-7.44,6.8,-6.94,7.3), (-7.47,11.12,-3.43,11.68), (-3.96,11.15,-3.46,11.65), (3,17.24,3.5,17.74), (3.11,17.35,3.39,30.68), (3,30.29,3.5,30.79), (9.96,30.29,10.46,30.79)])
R(two_stage_comparator, metal4_pin, [(10.07,17.785,10.35,18.065)])
R(two_stage_comparator, lvpwell, [(-11.63,0,-5.21,6.59), (-4.21,0,2.21,6.59), (5.21,0,11.63,6.59), (-6.92,12.59,-0.5,19.18), (0.5,12.59,6.92,19.18)])
two_stage_comparator.add(gdstk.Label('ibias', (-3.71,4.005), layer=42, texttype=10))
two_stage_comparator.add(gdstk.Label('out', (10.21,17.925), layer=46, texttype=10))
two_stage_comparator.add(gdstk.Label('inm', (4.11,14.19), layer=36, texttype=10))
two_stage_comparator.add(gdstk.Label('inp', (-3.31,14.19), layer=36, texttype=10))
two_stage_comparator.add(gdstk.Label('vss', (4.99,7.05), layer=42, texttype=10))
two_stage_comparator.add(gdstk.Label('vdd', (1.075,28.8), layer=42, texttype=10))

lib.write_gds('two_stage_comparator.gds')
